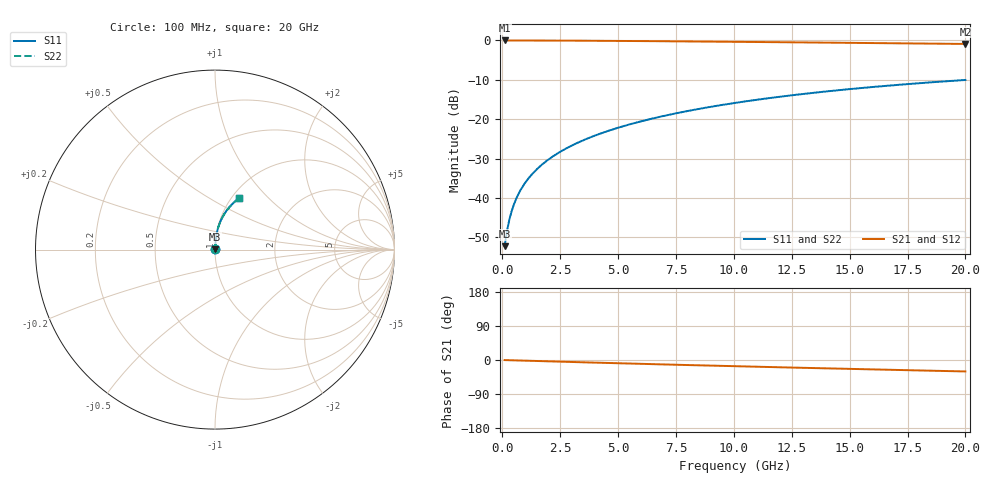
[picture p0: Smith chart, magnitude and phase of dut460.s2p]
! Touchstone file exported from HFSS 2024.1.0
!  File:  C:/UserFiles/LocalFiles/RDL_TSV_Batchsim/temp_RDL_top_460_1779677523.aedt
!  Generated:  10:54:19 AM May 25, 2026
!  Design:  RDL_top
!  Project:  temp_RDL_top_460_1779677523
!  Setup:  Setup1
!  Solution:  Sweep
! Variables:
!  dtsv = 10.80580581um
!  hbump = 3um
!  htsv = 78.68um
!  ldown = 100um
!  lrdl = 398.21um
!  p = 40
!  p1 = 50.96um
!  rhole = 1um
!  t = 450um
!  tdown = 3.915915916um
!  trdl = 4.41um
!  wdown = 15.38538539um
!  wrdl = 19.15um
# GHz S MA R 50.000000
! Terminal data exported
! Port[1] = Box2_T1
! Port[2] = Box2_T2
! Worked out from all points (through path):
!   200 points, 100 MHz to 20 GHz, reference 50 ohm
!   highest |S21| = -0.02 dB at 100 MHz (marker M1); lowest = -0.9 dB at 20 GHz (marker M2)
!   group delay of S21, straight-line fit = 4.17 ps
!   lowest |S11| = -52.2 dB at 100 MHz (marker M3), VSWR 1.00, Z = 50.2 + j0.165 ohm
!   |S11| at or under -10 dB: start of sweep to end of sweep
!   |S22| runs from -52.2 to -10.0 dB; largest |S21 - S12| = 7.3e-15
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0.1  0.00245 42.0  0.9982 -0.2  0.9982 -0.2  0.00245 42.0
! Gamma 0 0 0 0
! Port Impedance 50 0 50 0
0.2  0.003763 60.1  0.9981 -0.4  0.9981 -0.4  0.003763 60.1
0.3  0.005239 68.2  0.998 -0.5  0.998 -0.5  0.00524 68.2
0.4  0.006751 72.4  0.9979 -0.7  0.9979 -0.7  0.006751 72.4
0.5  0.008265 75.1  0.9978 -0.9  0.9978 -0.9  0.008266 75.1
0.7  0.01128 78.3  0.9975 -1.2  0.9975 -1.2  0.01128 78.3
0.8  0.01278 79.4  0.9974 -1.4  0.9974 -1.4  0.01278 79.4
1  0.01578 80.9  0.9972 -1.8  0.9972 -1.8  0.01578 80.9
1.2  0.01879 82.0  0.9969 -2.1  0.9969 -2.1  0.01879 82.0
1.4  0.0218 82.8  0.9966 -2.5  0.9966 -2.5  0.0218 82.8
1.7  0.02634 83.7  0.9961 -3.0  0.9961 -3.0  0.02634 83.7
2  0.0309 84.2  0.9954 -3.5  0.9954 -3.5  0.0309 84.2
2.7  0.04165 84.9  0.9936 -4.7  0.9936 -4.7  0.04164 84.9
3.5  0.05409 85.0  0.991 -6.1  0.991 -6.1  0.05409 85.0
4.2  0.06513 84.8  0.9884 -7.3  0.9884 -7.3  0.06512 84.8
5  0.0779 84.4  0.985 -8.6  0.985 -8.6  0.07789 84.4
6.8  0.1072 82.9  0.9765 -11.5  0.9765 -11.5  0.1072 82.9
8.4  0.1336 81.1  0.9683 -13.9  0.9683 -13.9  0.1336 81.1
10.1  0.1618 79.0  0.9592 -16.5  0.9592 -16.5  0.1618 78.9
13.4  0.2156 74.4  0.9407 -21.2  0.9407 -21.2  0.2156 74.4
16.7  0.267 69.7  0.9214 -25.8  0.9214 -25.8  0.2669 69.7
20  0.3148 65.1  0.9015 -30.2  0.9015 -30.2  0.3147 65.0
